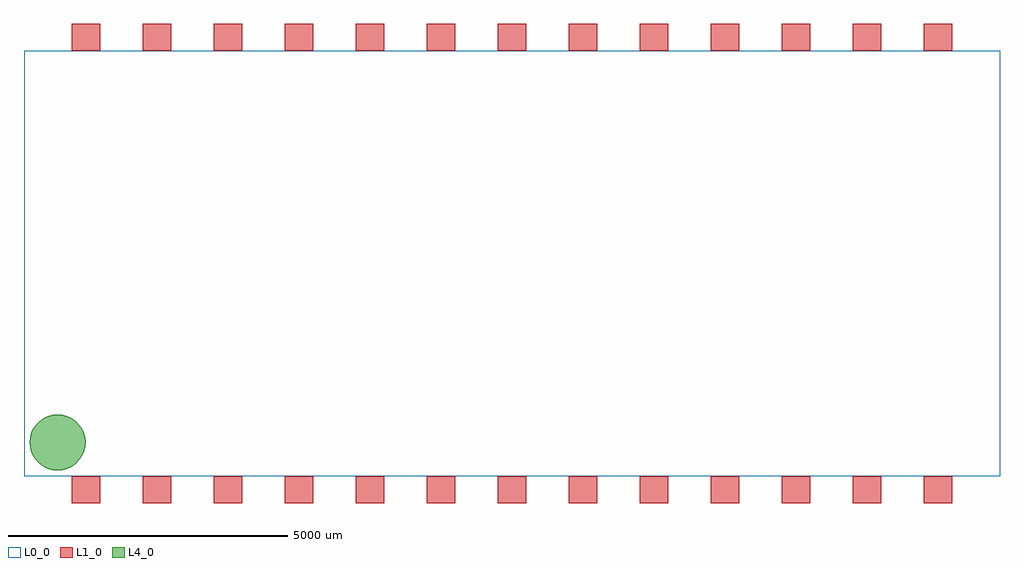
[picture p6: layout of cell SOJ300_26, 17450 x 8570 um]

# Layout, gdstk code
import gdstk
lib = gdstk.Library(unit=1e-6, precision=1e-09)
def R(c, l, rs):  # rectangles x0, y0, x1, y1
    for r in rs: c.add(gdstk.rectangle(r[:2], r[2:], *l))
def A(c, l, x, y, w, h, nx, ny, dx, dy):  # array of equal rectangles
    R(c, l, [(x+i*dx, y+j*dy, x+i*dx+w, y+j*dy+h) for i in range(nx) for j in range(ny)])
def P(c, l, *ps):  # polygons
    for p in ps: c.add(gdstk.Polygon(p, *l))
L0_0 = (0, 0)
L1_0 = (1, 0)
L4_0 = (4, 0)
L99_1 = (99, 1)
L99_2 = (99, 2)
L99_3 = (99, 3)
L99_4 = (99, 4)
L99_5 = (99, 5)
L99_6 = (99, 6)
L99_7 = (99, 7)
L99_8 = (99, 8)
L99_9 = (99, 9)
L99_10 = (99, 10)
L99_11 = (99, 11)
L99_12 = (99, 12)
L99_13 = (99, 13)
L99_14 = (99, 14)
L99_15 = (99, 15)
L99_16 = (99, 16)
L99_17 = (99, 17)
L99_18 = (99, 18)
L99_19 = (99, 19)
L99_20 = (99, 20)
L99_21 = (99, 21)
L99_22 = (99, 22)
L99_23 = (99, 23)
L99_24 = (99, 24)
L99_25 = (99, 25)
L99_26 = (99, 26)

soj300_26 = lib.new_cell('SOJ300_26')
R(soj300_26, L0_0, [(0,0,17450,7600)])
A(soj300_26, L1_0, 850, -485, 510, 485, 13, 2, 1270, 8085)
P(soj300_26, L4_0, [(1100,600),(1092.404,513.176),(1069.846,428.99),(1033.013,350),(983.022,278.606),(921.394,216.978),(850,166.987),(771.01,130.154),(686.824,107.596),(600,100),(513.176,107.596),(428.99,130.154),(350,166.987),(278.606,216.978),(216.978,278.606),(166.987,350),(130.154,428.99),(107.596,513.176),(100,600),(107.596,686.824),(130.154,771.01),(166.987,850),(216.978,921.394),(278.606,983.022),(350,1033.013),(428.99,1069.846),(513.176,1092.404),(600,1100),(686.824,1092.404),(771.01,1069.846),(850,1033.013),(921.394,983.022),(983.022,921.394),(1033.013,850),(1069.846,771.01),(1092.404,686.824)])
soj300_26.add(gdstk.FlexPath([(1360,0),(850,0)], 0, ends="round", simple_path=True, layer=99, datatype=1))  # L99_1
soj300_26.add(gdstk.FlexPath([(2630,0),(2120,0)], 0, ends="round", simple_path=True, layer=99, datatype=2))  # L99_2
soj300_26.add(gdstk.FlexPath([(3900,0),(3390,0)], 0, ends="round", simple_path=True, layer=99, datatype=3))  # L99_3
soj300_26.add(gdstk.FlexPath([(5170,0),(4660,0)], 0, ends="round", simple_path=True, layer=99, datatype=4))  # L99_4
soj300_26.add(gdstk.FlexPath([(6440,0),(5930,0)], 0, ends="round", simple_path=True, layer=99, datatype=5))  # L99_5
soj300_26.add(gdstk.FlexPath([(7710,0),(7200,0)], 0, ends="round", simple_path=True, layer=99, datatype=6))  # L99_6
soj300_26.add(gdstk.FlexPath([(8980,0),(8470,0)], 0, ends="round", simple_path=True, layer=99, datatype=7))  # L99_7
soj300_26.add(gdstk.FlexPath([(10250,0),(9740,0)], 0, ends="round", simple_path=True, layer=99, datatype=8))  # L99_8
soj300_26.add(gdstk.FlexPath([(11520,0),(11010,0)], 0, ends="round", simple_path=True, layer=99, datatype=9))  # L99_9
soj300_26.add(gdstk.FlexPath([(12790,0),(12280,0)], 0, ends="round", simple_path=True, layer=99, datatype=10))  # L99_10
soj300_26.add(gdstk.FlexPath([(14060,0),(13550,0)], 0, ends="round", simple_path=True, layer=99, datatype=11))  # L99_11
soj300_26.add(gdstk.FlexPath([(15330,0),(14820,0)], 0, ends="round", simple_path=True, layer=99, datatype=12))  # L99_12
soj300_26.add(gdstk.FlexPath([(16600,0),(16090,0)], 0, ends="round", simple_path=True, layer=99, datatype=13))  # L99_13
soj300_26.add(gdstk.FlexPath([(850,7600),(1360,7600)], 0, ends="round", simple_path=True, layer=99, datatype=26))  # L99_26
soj300_26.add(gdstk.FlexPath([(2120,7600),(2630,7600)], 0, ends="round", simple_path=True, layer=99, datatype=25))  # L99_25
soj300_26.add(gdstk.FlexPath([(3390,7600),(3900,7600)], 0, ends="round", simple_path=True, layer=99, datatype=24))  # L99_24
soj300_26.add(gdstk.FlexPath([(4660,7600),(5170,7600)], 0, ends="round", simple_path=True, layer=99, datatype=23))  # L99_23
soj300_26.add(gdstk.FlexPath([(5930,7600),(6440,7600)], 0, ends="round", simple_path=True, layer=99, datatype=22))  # L99_22
soj300_26.add(gdstk.FlexPath([(7200,7600),(7710,7600)], 0, ends="round", simple_path=True, layer=99, datatype=21))  # L99_21
soj300_26.add(gdstk.FlexPath([(8470,7600),(8980,7600)], 0, ends="round", simple_path=True, layer=99, datatype=20))  # L99_20
soj300_26.add(gdstk.FlexPath([(9740,7600),(10250,7600)], 0, ends="round", simple_path=True, layer=99, datatype=19))  # L99_19
soj300_26.add(gdstk.FlexPath([(11010,7600),(11520,7600)], 0, ends="round", simple_path=True, layer=99, datatype=18))  # L99_18
soj300_26.add(gdstk.FlexPath([(12280,7600),(12790,7600)], 0, ends="round", simple_path=True, layer=99, datatype=17))  # L99_17
soj300_26.add(gdstk.FlexPath([(13550,7600),(14060,7600)], 0, ends="round", simple_path=True, layer=99, datatype=16))  # L99_16
soj300_26.add(gdstk.FlexPath([(14820,7600),(15330,7600)], 0, ends="round", simple_path=True, layer=99, datatype=15))  # L99_15
soj300_26.add(gdstk.FlexPath([(16090,7600),(16600,7600)], 0, ends="round", simple_path=True, layer=99, datatype=14))  # L99_14

lib.write_gds('SOJ300_26.gds')
